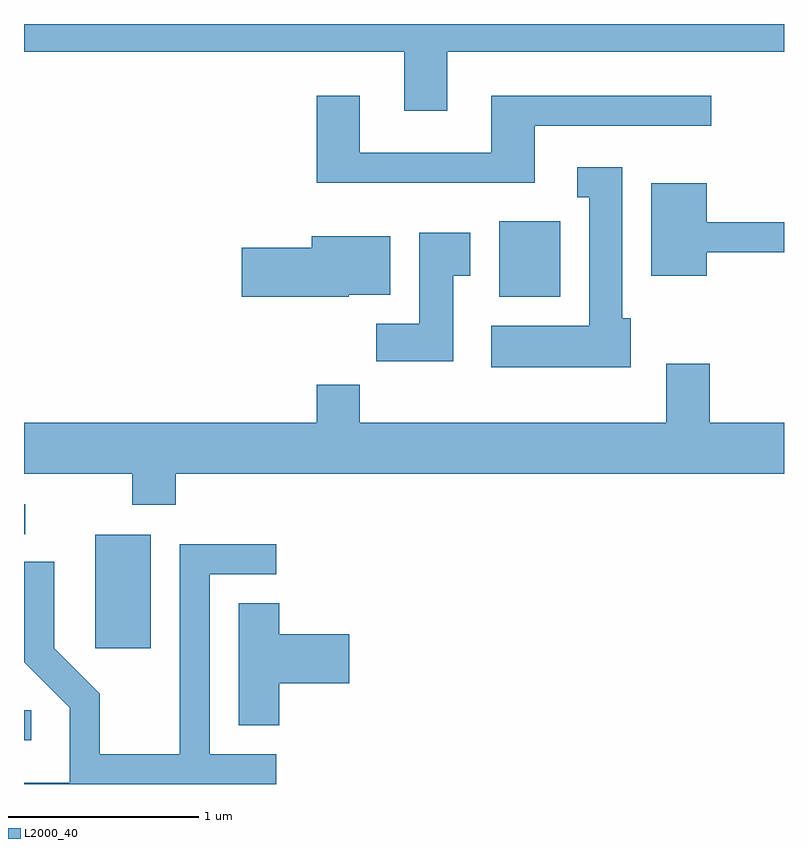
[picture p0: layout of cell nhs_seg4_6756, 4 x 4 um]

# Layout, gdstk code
import gdstk
lib = gdstk.Library(unit=1e-6, precision=1e-09)
def R(c, l, rs):  # rectangles x0, y0, x1, y1
    for r in rs: c.add(gdstk.rectangle(r[:2], r[2:], *l))
def P(c, l, *ps):  # polygons
    for p in ps: c.add(gdstk.Polygon(p, *l))
L2000_40 = (2000, 40)

nhs_seg4_6756 = lib.new_cell('nhs_seg4_6756')
R(nhs_seg4_6756, L2000_40, [(383.611,1302.211,383.648,1302.369), (383.986,1302.696,384.279,1303.294), (383.611,1303.296,383.618,1303.454), (386.111,1304.546,386.434,1304.944)])
P(nhs_seg4_6756, L2000_40, [(385.839,1305.836),(387.611,1305.836),(387.611,1305.982),(383.611,1305.982),(383.611,1305.836),(385.611,1305.836),(385.611,1305.526),(385.839,1305.526)],
  [(386.299,1305.446),(387.228,1305.446),(387.228,1305.604),(386.071,1305.604),(386.071,1305.304),(385.379,1305.304),(385.379,1305.604),(385.151,1305.604),(385.151,1305.146),(386.299,1305.146)],
  [(386.804,1304.434),(386.759,1304.434),(386.759,1305.229),(386.523,1305.229),(386.523,1305.071),(386.586,1305.071),(386.586,1304.394),(386.071,1304.394),(386.071,1304.176),(386.804,1304.176)],
  [(387.204,1304.781),(387.611,1304.781),(387.611,1304.939),(387.204,1304.939),(387.204,1305.144),(386.911,1305.144),(386.911,1304.656),(387.204,1304.656)],
  [(385.869,1304.656),(385.959,1304.656),(385.959,1304.884),(385.691,1304.884),(385.691,1304.404),(385.466,1304.404),(385.466,1304.206),(385.869,1304.206)],
  [(385.32,1304.556),(385.539,1304.556),(385.539,1304.864),(385.126,1304.864),(385.126,1304.804),(384.756,1304.804),(384.756,1304.546),(385.32,1304.546)],
  [(384.409,1303.616),(387.611,1303.616),(387.611,1303.884),(387.219,1303.884),(387.219,1304.194),(386.991,1304.194),(386.991,1303.884),(385.379,1303.884),(385.379,1304.084),(385.151,1304.084),(385.151,1303.884),(383.611,1303.884),(383.611,1303.616),(384.181,1303.616),(384.181,1303.451),(384.409,1303.451)],
  [(384.938,1302.139),(384.589,1302.139),(384.589,1303.086),(384.938,1303.086),(384.938,1303.244),(384.431,1303.244),(384.431,1302.139),(384.009,1302.139),(384.009,1302.457),(383.769,1302.697),(383.769,1303.153),(383.611,1303.153),(383.611,1302.624),(383.851,1302.384),(383.851,1301.989),(383.611,1301.989),(383.611,1301.982),(384.938,1301.982)],
  [(384.954,1302.511),(385.324,1302.511),(385.324,1302.769),(384.954,1302.769),(384.954,1302.934),(384.741,1302.934),(384.741,1302.291),(384.954,1302.291)])

lib.write_gds('nhs_seg4_6756.gds')
